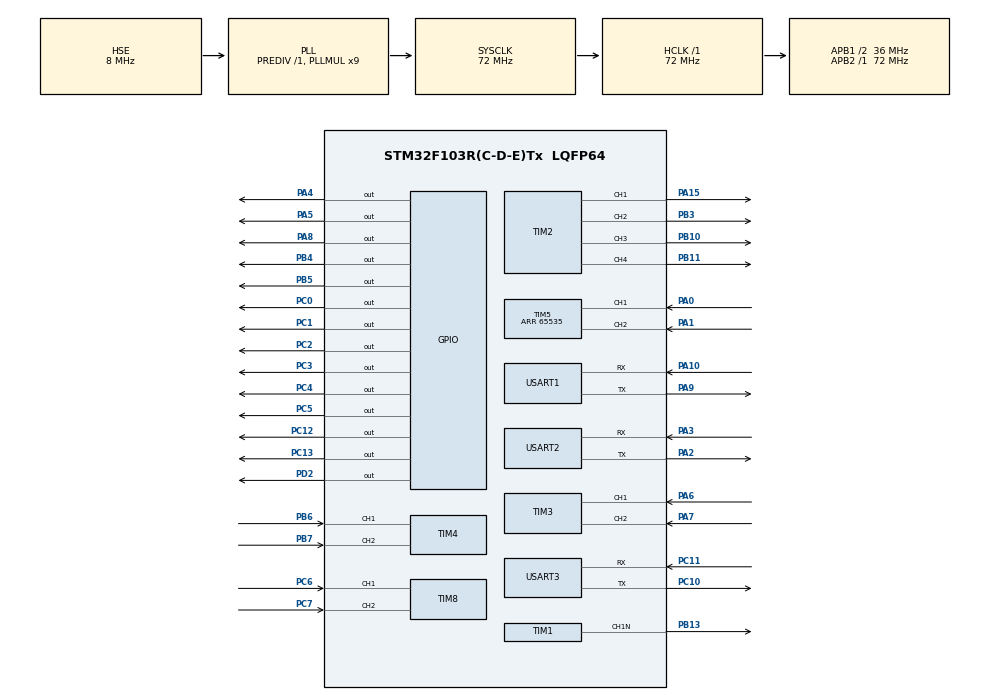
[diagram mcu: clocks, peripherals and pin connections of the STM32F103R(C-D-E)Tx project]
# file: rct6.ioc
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FREERTOS.Tasks01=defaultTask,0,128,StartDefaultTask,Default,NULL,Dynamic,NULL,NULL;GetEncoder,0,128,StartTaskGetEncoder,Default,NULL,Dynamic,NULL,NULL;myTask03,-3,128,StartTask03,Default,NULL,Dynamic,NULL,NULL
Mcu.Family=STM32F1
Mcu.Name=STM32F103R(C-D-E)Tx
Mcu.Package=LQFP64
NVIC.PriorityGroup=NVIC_PRIORITYGROUP_4
NVIC.TIM6_IRQn=true\:0\:0\:false\:false\:true\:false\:false\:true
NVIC.TIM7_IRQn=true\:5\:0\:false\:false\:true\:true\:true\:true
NVIC.TimeBase=TIM6_IRQn
NVIC.TimeBaseIP=TIM6
PA0-WKUP.Signal=S_TIM5_CH1
PA1.Signal=S_TIM5_CH2
PA10.Mode=Asynchronous
PA10.Signal=USART1_RX
PA13.Mode=Serial_Wire
PA13.Signal=SYS_JTMS-SWDIO
PA14.Mode=Serial_Wire
PA14.Signal=SYS_JTCK-SWCLK
PA15.Signal=S_TIM2_CH1_ETR
PA2.Mode=Asynchronous
PA2.Signal=USART2_TX
PA3.Mode=Asynchronous
PA3.Signal=USART2_RX
PA4.Signal=GPIO_Output
PA5.Signal=GPIO_Output
PA6.Signal=S_TIM3_CH1
PA7.Signal=S_TIM3_CH2
PA8.Signal=GPIO_Output
PA9.Mode=Asynchronous
PA9.Signal=USART1_TX
PB10.Signal=S_TIM2_CH3
PB11.Signal=S_TIM2_CH4
PB13.Mode=PWM Generation1 CH1N
PB13.Signal=TIM1_CH1N
PB3.Signal=S_TIM2_CH2
PB4.Signal=GPIO_Output
PB5.Signal=GPIO_Output
PB6.Signal=S_TIM4_CH1
PB7.Signal=S_TIM4_CH2
PC0.Signal=GPIO_Output
PC1.Signal=GPIO_Output
PC10.Mode=Asynchronous
PC10.Signal=USART3_TX
PC11.Mode=Asynchronous
PC11.Signal=USART3_RX
PC12.Signal=GPIO_Output
PC13-TAMPER-RTC.Signal=GPIO_Output
PC2.Signal=GPIO_Output
PC3.Signal=GPIO_Output
PC4.Signal=GPIO_Output
PC5.Signal=GPIO_Output
PC6.Signal=S_TIM8_CH1
PC7.Signal=S_TIM8_CH2
PD0-OSC_IN.Mode=HSE-External-Oscillator
PD0-OSC_IN.Signal=RCC_OSC_IN
PD1-OSC_OUT.Mode=HSE-External-Oscillator
PD1-OSC_OUT.Signal=RCC_OSC_OUT
PD2.Signal=GPIO_Output
ProjectManager.HeapSize=0x200
ProjectManager.StackSize=0x400
ProjectManager.TargetToolchain=MDK-ARM V5.27
RCC.AHBFreq_Value=72000000
RCC.APB1CLKDivider=RCC_HCLK_DIV2
RCC.APB1Freq_Value=36000000
RCC.APB1TimFreq_Value=72000000
RCC.APB2Freq_Value=72000000
RCC.APB2TimFreq_Value=72000000
RCC.HCLKFreq_Value=72000000
RCC.PLLMUL=RCC_PLL_MUL9
RCC.PLLSourceVirtual=RCC_PLLSOURCE_HSE
RCC.SYSCLKFreq_VALUE=72000000
RCC.SYSCLKSource=RCC_SYSCLKSOURCE_PLLCLK
RCC.USBFreq_Value=72000000
SH.S_TIM2_CH1_ETR.0=TIM2_CH1,PWM Generation1 CH1
SH.S_TIM2_CH2.0=TIM2_CH2,PWM Generation2 CH2
SH.S_TIM2_CH3.0=TIM2_CH3,PWM Generation3 CH3
SH.S_TIM2_CH4.0=TIM2_CH4,PWM Generation4 CH4
SH.S_TIM3_CH1.0=TIM3_CH1,Encoder_Interface
SH.S_TIM3_CH2.0=TIM3_CH2,Encoder_Interface
SH.S_TIM4_CH1.0=TIM4_CH1,Encoder_Interface
SH.S_TIM4_CH2.0=TIM4_CH2,Encoder_Interface
SH.S_TIM5_CH1.0=TIM5_CH1,Encoder_Interface
SH.S_TIM5_CH2.0=TIM5_CH2,Encoder_Interface
SH.S_TIM8_CH1.0=TIM8_CH1,Encoder_Interface
SH.S_TIM8_CH2.0=TIM8_CH2,Encoder_Interface
TIM1.Channel-PWM\ Generation1\ CH1N=TIM_CHANNEL_1
TIM2.Channel-PWM\ Generation1\ CH1=TIM_CHANNEL_1
TIM2.Channel-PWM\ Generation2\ CH2=TIM_CHANNEL_2
TIM2.Channel-PWM\ Generation3\ CH3=TIM_CHANNEL_3
TIM2.Channel-PWM\ Generation4\ CH4=TIM_CHANNEL_4
TIM5.EncoderMode=TIM_ENCODERMODE_TI12
TIM5.IC1Filter=10
TIM5.IC2Filter=10
TIM5.Period=65535
TIM7.Period=1000
TIM7.Prescaler=999
TIM7.TIM_MasterOutputTrigger=TIM_TRGO_UPDATE
USART1.VirtualMode=VM_ASYNC
USART2.VirtualMode=VM_ASYNC
USART3.VirtualMode=VM_ASYNC
VP_FREERTOS_VS_CMSIS_V1.Mode=CMSIS_V1
VP_SYS_VS_tim6.Mode=TIM6
VP_TIM1_VS_ClockSourceINT.Mode=Internal
VP_TIM2_VS_ClockSourceINT.Mode=Internal
VP_TIM7_VS_ClockSourceINT.Mode=Enable_Timer
board=custom

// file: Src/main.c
/* USER CODE BEGIN Header */
/**
  ******************************************************************************
  * @file           : main.c
  * @brief          : Main program body
  ******************************************************************************
  * @attention
  *
  * <h2><center>&copy; Copyright (c) 2020 STMicroelectronics.
  * All rights reserved.</center></h2>
  *
  * This software component is licensed by ST under BSD 3-Clause license,
  * the "License"; You may not use this file except in compliance with the
  * License. You may obtain a copy of the License at:
  *                        opensource.org/licenses/BSD-3-Clause
  *
  ******************************************************************************
  */
/* USER CODE END Header */

#include "main.h"
#include "cmsis_os.h"
#include "tim.h"
#include "usart.h"
#include "gpio.h"

/* USER CODE BEGIN Includes */
#include "lcd.h"
#include "gui.h"
/* USER CODE END Includes */

void SystemClock_Config(void);
void MX_FREERTOS_Init(void);

int main(void)
{

  /* MCU Configuration--------------------------------------------------------*/

  /* Reset of all peripherals, Initializes the Flash interface and the Systick. */
  HAL_Init();

  /* Configure the system clock */
  SystemClock_Config();

  /* Initialize all configured peripherals */
  MX_GPIO_Init();
  MX_TIM1_Init();
  MX_TIM2_Init();
  MX_TIM3_Init();
  MX_TIM4_Init();
  MX_TIM5_Init();
  MX_TIM8_Init();
  MX_USART1_UART_Init();
  MX_USART2_UART_Init();
  MX_USART3_UART_Init();
  MX_TIM7_Init();
  /* USER CODE BEGIN 2 */
	LCD_Init();
	LCD_Clear(WHITE); 		//清屏
	HAL_TIM_Encoder_Start(&htim5,TIM_CHANNEL_ALL);
//	LCD_DrawRectangle(5,5,50,100);
  /* USER CODE END 2 */

  /* Call init function for freertos objects (in freertos.c) */
  MX_FREERTOS_Init();

  /* Start scheduler */
  osKernelStart();

  /* We should never get here as control is now taken by the scheduler */

  /* Infinite loop */
  while (1)
  {

  }
}

void SystemClock_Config(void)
{
  RCC_OscInitTypeDef RCC_OscInitStruct = {0};
  RCC_ClkInitTypeDef RCC_ClkInitStruct = {0};

  /** Initializes the CPU, AHB and APB busses clocks
  */
  RCC_OscInitStruct.OscillatorType = RCC_OSCILLATORTYPE_HSE;
  RCC_OscInitStruct.HSEState = RCC_HSE_ON;
  RCC_OscInitStruct.HSEPredivValue = RCC_HSE_PREDIV_DIV1;
  RCC_OscInitStruct.HSIState = RCC_HSI_ON;
  RCC_OscInitStruct.PLL.PLLState = RCC_PLL_ON;
  RCC_OscInitStruct.PLL.PLLSource = RCC_PLLSOURCE_HSE;
  RCC_OscInitStruct.PLL.PLLMUL = RCC_PLL_MUL9;
  if (HAL_RCC_OscConfig(&RCC_OscInitStruct) != HAL_OK)
  {
    Error_Handler();
  }
  /** Initializes the CPU, AHB and APB busses clocks
  */
  RCC_ClkInitStruct.ClockType = RCC_CLOCKTYPE_HCLK|RCC_CLOCKTYPE_SYSCLK
                              |RCC_CLOCKTYPE_PCLK1|RCC_CLOCKTYPE_PCLK2;
  RCC_ClkInitStruct.SYSCLKSource = RCC_SYSCLKSOURCE_PLLCLK;
  RCC_ClkInitStruct.AHBCLKDivider = RCC_SYSCLK_DIV1;
  RCC_ClkInitStruct.APB1CLKDivider = RCC_HCLK_DIV2;
  RCC_ClkInitStruct.APB2CLKDivider = RCC_HCLK_DIV1;

  if (HAL_RCC_ClockConfig(&RCC_ClkInitStruct, FLASH_LATENCY_2) != HAL_OK)
  {
    Error_Handler();
  }
}

void HAL_TIM_PeriodElapsedCallback(TIM_HandleTypeDef *htim)
{
  if (htim->Instance == TIM6) {
    HAL_IncTick();
  }
}

void Error_Handler(void)
{
}

/************************ (C) COPYRIGHT STMicroelectronics *****END OF FILE****/

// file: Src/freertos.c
/* USER CODE BEGIN Header */
/**
  ******************************************************************************
  * File Name          : freertos.c
  * Description        : Code for freertos applications
  ******************************************************************************
  * @attention
  *
  * <h2><center>&copy; Copyright (c) 2020 STMicroelectronics.
  * All rights reserved.</center></h2>
  *
  * This software component is licensed by ST under Ultimate Liberty license
  * SLA0044, the "License"; You may not use this file except in compliance with
  * the License. You may obtain a copy of the License at:
  *                             www.st.com/SLA0044
  *
  ******************************************************************************
  */
/* USER CODE END Header */

#include "FreeRTOS.h"
#include "task.h"
#include "main.h"
#include "cmsis_os.h"

/* USER CODE BEGIN Includes */
#include "gui.h"
#include "tim.h"
/* USER CODE END Includes */

osThreadId defaultTaskHandle;
osThreadId GetEncoderHandle;
osThreadId myTask03Handle;

void StartDefaultTask(void const * argument);
void StartTaskGetEncoder(void const * argument);
void StartTask03(void const * argument);

void MX_FREERTOS_Init(void); /* (MISRA C 2004 rule 8.1) */

/* GetIdleTaskMemory prototype (linked to static allocation support) */
void vApplicationGetIdleTaskMemory( StaticTask_t **ppxIdleTaskTCBBuffer, StackType_t **ppxIdleTaskStackBuffer, uint32_t *pulIdleTaskStackSize );

/* USER CODE BEGIN GET_IDLE_TASK_MEMORY */
static StaticTask_t xIdleTaskTCBBuffer;
static StackType_t xIdleStack[configMINIMAL_STACK_SIZE];

void vApplicationGetIdleTaskMemory( StaticTask_t **ppxIdleTaskTCBBuffer, StackType_t **ppxIdleTaskStackBuffer, uint32_t *pulIdleTaskStackSize )
{
  *ppxIdleTaskTCBBuffer = &xIdleTaskTCBBuffer;
  *ppxIdleTaskStackBuffer = &xIdleStack[0];
  *pulIdleTaskStackSize = configMINIMAL_STACK_SIZE;
  /* place for user code */
}
/* USER CODE END GET_IDLE_TASK_MEMORY */

void MX_FREERTOS_Init(void) {

  /* Create the thread(s) */
  /* definition and creation of defaultTask */
  osThreadDef(defaultTask, StartDefaultTask, osPriorityNormal, 0, 128);
  defaultTaskHandle = osThreadCreate(osThread(defaultTask), NULL);

  /* definition and creation of GetEncoder */
  osThreadDef(GetEncoder, StartTaskGetEncoder, osPriorityNormal, 0, 128);
  GetEncoderHandle = osThreadCreate(osThread(GetEncoder), NULL);

  /* definition and creation of myTask03 */
  osThreadDef(myTask03, StartTask03, osPriorityIdle, 0, 128);
  myTask03Handle = osThreadCreate(osThread(myTask03), NULL);

}

void StartDefaultTask(void const * argument)
{
  /* USER CODE BEGIN StartDefaultTask */
  /* Infinite loop */
  for(;;)
  {
//    LCD_DrawLine(5,5,100,100);
//		osDelay(500);
//		LCD_Clear(WHITE);
//		LCD_DrawRectangle(1,1,100,100);
		osDelay(500);
  }
  /* USER CODE END StartDefaultTask */
}

void StartTaskGetEncoder(void const * argument)
{
  /* USER CODE BEGIN StartTaskGetEncoder */

	signed short EncodeNum = 0;
	int dir = 0;
  /* Infinite loop */
  for(;;)
  {
		EncodeNum = (signed short)TIM5->CNT;
		TIM5->CNT=0;
		dir = __HAL_TIM_IS_TIM_COUNTING_DOWN(&htim5);
		if(dir == 0)
			LCD_ShowNum(1,1,EncodeNum,5,12);
		else
			LCD_ShowNum(1,1,65535 - EncodeNum,5,12);
		osDelay(50);
    LCD_Fill(0,0,50,20,WHITE);
  }
  /* USER CODE END StartTaskGetEncoder */
}

void StartTask03(void const * argument)
{
  for(;;)
  {
    osDelay(1);
  }
}

/************************ (C) COPYRIGHT STMicroelectronics *****END OF FILE****/
